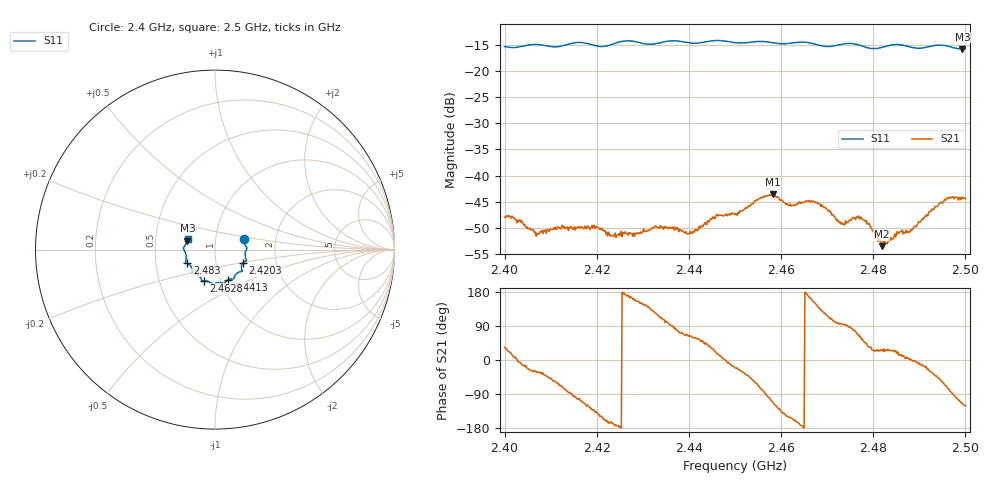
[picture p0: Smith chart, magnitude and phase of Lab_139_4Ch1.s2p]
# Hz S RI R 50
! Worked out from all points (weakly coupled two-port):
!   601 points, 2.4 GHz to 2.5 GHz, reference 50 ohm
!   highest |S21| = -43.58 dB at 2.4582 GHz (marker M1); lowest = -53.5 dB at 2.4818 GHz (marker M2)
!   lowest |S11| = -15.8 dB at 2.4993 GHz (marker M3), VSWR 1.39, Z = 36.5 + j3.72 ohm
!   |S11| at or under -10 dB: start of sweep to end of sweep
!   S12 and S22 are empty: the file has one direction only
!   S11 on the Smith chart (normalised r, x): 2.4 GHz: 1.37, +0.16; 2.4203 GHz: 1.35, -0.21; 2.4413 GHz: 1.09, -0.38; 2.4628 GHz: 0.83, -0.30; 2.483 GHz: 0.72, -0.11; 2.5 GHz: 0.73, +0.09
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2.4e9  0.1605 0.0569  0.00334 0.00221  0 0  0 0
2.403333e9  0.1684 0.0232  0.00372 -0.00042  0 0  0 0
2.407e9  0.1786 0.0075  0.00237 -0.00151  0 0  0 0
2.416667e9  0.176 -0.0616  -0.00107 -0.00304  0 0  0 0
2.420333e9  0.1551 -0.0738  -0.00252 -0.00193  0 0  0 0
2.423333e9  0.1472 -0.1022  -0.00259 -0.000649  0 0  0 0
2.433333e9  0.108 -0.1486  -0.00143 0.0028  0 0  0 0
2.441333e9  0.0743 -0.168  0.00156 0.00262  0 0  0 0
2.446333e9  0.049 -0.1889  0.00396 0.00106  0 0  0 0
2.45e9  0.0292 -0.1837  0.00394 -0.00149  0 0  0 0
2.458167e9  -0.0238 -0.1843  -0.00241 -0.00617  0 0  0 0
2.462833e9  -0.0632 -0.1748  -0.00488 -0.00183  0 0  0 0
2.466667e9  -0.0743 -0.1675  -0.00534 0.00208  0 0  0 0
2.473333e9  -0.1199 -0.1344  -0.000283 0.00351  0 0  0 0
2.477833e9  -0.1243 -0.1177  0.00239 0.00292  0 0  0 0
2.481833e9  -0.1458 -0.082  0.00189 0.000943  0 0  0 0
2.483e9  -0.1549 -0.0766  0.00202 0.000939  0 0  0 0
2.483333e9  -0.1572 -0.0756  0.00216 0.00108  0 0  0 0
2.488167e9  -0.1608 -0.0503  0.00304 1.94e-06  0 0  0 0
2.496e9  -0.172 0.0158  0.00189 -0.00578  0 0  0 0
2.499333e9  -0.1542 0.0496  -0.00255 -0.0055  0 0  0 0
2.5e9  -0.1525 0.0584  -0.00306 -0.00512  0 0  0 0
